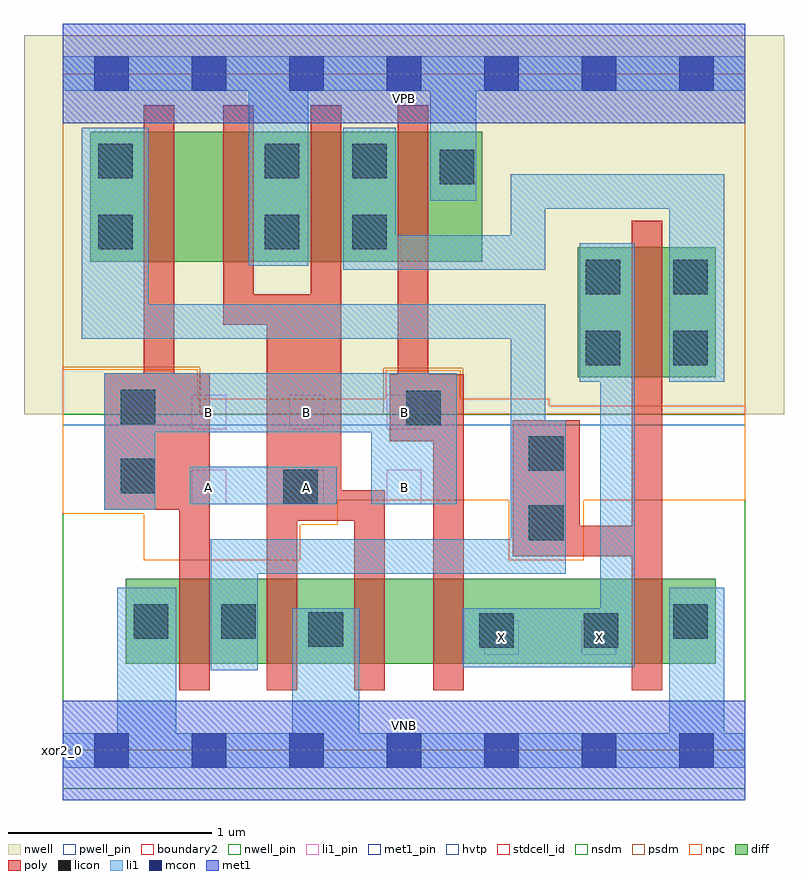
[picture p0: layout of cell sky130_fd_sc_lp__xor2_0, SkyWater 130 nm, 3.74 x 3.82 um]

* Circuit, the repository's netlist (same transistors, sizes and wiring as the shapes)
* Copyright 2020 The SkyWater PDK Authors
*
* Licensed under the Apache License, Version 2.0 (the "License");
* you may not use this file except in compliance with the License.
* You may obtain a copy of the License at
*
*     https://www.apache.org/licenses/LICENSE-2.0
*
* Unless required by applicable law or agreed to in writing, software
* distributed under the License is distributed on an "AS IS" BASIS,
* WITHOUT WARRANTIES OR CONDITIONS OF ANY KIND, either express or implied.
* See the License for the specific language governing permissions and
* limitations under the License.
*
* SPDX-License-Identifier: Apache-2.0

.SUBCKT sky130_fd_sc_lp__xor2_0 A B VGND VNB VPB VPWR X
*.PININFO A:I B:I VGND:I VNB:I VPB:I VPWR:I X:O
MMNnor0 inor A VGND VNB sky130_fd_pr__nfet_01v8 m=1 w=0.42U l=0.15U mult=1 sa=0.265
+ sb=0.265 sd=0.28 area=0.063 perim=1.14
MMNnor1 inor B VGND VNB sky130_fd_pr__nfet_01v8 m=1 w=0.42U l=0.15U mult=1 sa=0.265
+ sb=0.265 sd=0.28 area=0.063 perim=1.14
MMNaoi10 VGND A sndNA VNB sky130_fd_pr__nfet_01v8 m=1 w=0.42U l=0.15U mult=1 sa=0.265
+ sb=0.265 sd=0.28 area=0.063 perim=1.14
MMNaoi11 sndNA B X VNB sky130_fd_pr__nfet_01v8 m=1 w=0.42U l=0.15U mult=1 sa=0.265
+ sb=0.265 sd=0.28 area=0.063 perim=1.14
MMNaoi20 X inor VGND VNB sky130_fd_pr__nfet_01v8 m=1 w=0.42U l=0.15U mult=1 sa=0.265
+ sb=0.265 sd=0.28 area=0.063 perim=1.14
MMPnor0 VPWR A sndPA VPB sky130_fd_pr__pfet_01v8_hvt m=1 w=0.64U l=0.15U mult=1
+ sa=0.265 sb=0.265 sd=0.28 area=0.063 perim=1.14
MMPnor1 sndPA B inor VPB sky130_fd_pr__pfet_01v8_hvt m=1 w=0.64U l=0.15U mult=1
+ sa=0.265 sb=0.265 sd=0.28 area=0.063 perim=1.14
MMPaoi10 pmid A VPWR VPB sky130_fd_pr__pfet_01v8_hvt m=1 w=0.64U l=0.15U mult=1
+ sa=0.265 sb=0.265 sd=0.28 area=0.063 perim=1.14
MMPaoi11 pmid B VPWR VPB sky130_fd_pr__pfet_01v8_hvt m=1 w=0.64U l=0.15U mult=1
+ sa=0.265 sb=0.265 sd=0.28 area=0.063 perim=1.14
MMPaoi20 X inor pmid VPB sky130_fd_pr__pfet_01v8_hvt m=1 w=0.64U l=0.15U mult=1
+ sa=0.265 sb=0.265 sd=0.28 area=0.063 perim=1.14
.ENDS sky130_fd_sc_lp__xor2_0

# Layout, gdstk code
import gdstk
lib = gdstk.Library(unit=1e-6, precision=1e-09)
def R(c, l, rs):  # rectangles x0, y0, x1, y1
    for r in rs: c.add(gdstk.rectangle(r[:2], r[2:], *l))
def A(c, l, x, y, w, h, nx, ny, dx, dy):  # array of equal rectangles
    R(c, l, [(x+i*dx, y+j*dy, x+i*dx+w, y+j*dy+h) for i in range(nx) for j in range(ny)])
def P(c, l, *ps):  # polygons
    for p in ps: c.add(gdstk.Polygon(p, *l))
nwell_pin = (64, 16)
nwell = (64, 20)
diff = (65, 20)
poly = (66, 20)
licon = (66, 44)
li1_pin = (67, 16)
li1 = (67, 20)
mcon = (67, 44)
met1_pin = (68, 16)
met1 = (68, 20)
hvtp = (78, 44)
stdcell_id = (81, 4)
nsdm = (93, 44)
psdm = (94, 20)
npc = (95, 20)
pwell_pin = (122, 16)
boundary2 = (236, 0)

sky130_fd_sc_lp__xor2_0 = lib.new_cell('sky130_fd_sc_lp__xor2_0')
R(sky130_fd_sc_lp__xor2_0, nwell_pin, [(0,3.085,3.36,3.33)])
R(sky130_fd_sc_lp__xor2_0, nwell, [(-0.19,1.655,3.55,3.52)])
R(sky130_fd_sc_lp__xor2_0, diff, [(0.31,0.425,3.215,0.845), (2.535,1.835,3.215,2.475), (0.135,2.405,2.065,3.045)])
P(sky130_fd_sc_lp__xor2_0, poly, [(2.95,2.605),(2.8,2.605),(2.8,1.105),(2.545,1.105),(2.545,1.625),(2.215,1.625),(2.215,0.955),(2.8,0.955),(2.8,0.295),(2.95,0.295)],
  [(1.975,1.85),(1.8,1.85),(1.8,3.175),(1.65,3.175),(1.65,1.85),(1.61,1.85),(1.61,1.52),(1.825,1.52),(1.825,0.295),(1.975,0.295)],
  [(0.725,1.855),(0.55,1.855),(0.55,3.175),(0.4,3.175),(0.4,1.855),(0.205,1.855),(0.205,1.185),(0.575,1.185),(0.575,0.295),(0.725,0.295)],
  [(1.585,1.28),(1.37,1.28),(1.37,3.175),(1.22,3.175),(1.22,2.245),(0.94,2.245),(0.94,3.175),(0.79,3.175),(0.79,2.095),(1.005,2.095),(1.005,0.295),(1.155,0.295),(1.155,1.13),(1.435,1.13),(1.435,0.295),(1.585,0.295)])
R(sky130_fd_sc_lp__xor2_0, licon, [(2.05,0.505,2.22,0.675), (2.565,0.505,2.735,0.675), (1.21,0.51,1.38,0.68), (0.35,0.55,0.52,0.72), (0.78,0.55,0.95,0.72), (3.005,0.55,3.175,0.72), (2.295,1.035,2.465,1.205), (1.085,1.21,1.255,1.38), (0.285,1.265,0.455,1.435), (2.295,1.375,2.465,1.545), (1.69,1.6,1.86,1.77), (0.285,1.605,0.455,1.775), (2.575,1.895,2.745,2.065), (3.005,1.895,3.175,2.065), (2.575,2.245,2.745,2.415), (3.005,2.245,3.175,2.415), (0.175,2.465,0.345,2.635), (0.995,2.465,1.165,2.635), (1.425,2.465,1.595,2.635), (1.855,2.785,2.025,2.955), (0.175,2.815,0.345,2.985), (0.995,2.815,1.165,2.985), (1.425,2.815,1.595,2.985)])
A(sky130_fd_sc_lp__xor2_0, li1_pin, 0.635, 1.21, 0.17, 0.17, 3, 2, 0.48, 0.37)
R(sky130_fd_sc_lp__xor2_0, li1_pin, [(2.075,0.47,2.245,0.64), (2.555,0.47,2.725,0.64)])
R(sky130_fd_sc_lp__xor2_0, li1, [(0.625,1.21,1.35,1.395)])
P(sky130_fd_sc_lp__xor2_0, li1, [(2.475,1.625),(2.375,1.625),(2.375,2.195),(0.425,2.195),(0.425,3.065),(0.095,3.065),(0.095,2.025),(2.205,2.025),(2.205,1.04),(0.73,1.04),(0.73,0.395),(0.96,0.395),(0.96,0.87),(2.475,0.87)],
  [(3.36,3.415),(0,3.415),(0,3.245),(0.915,3.245),(0.915,2.385),(1.21,2.385),(1.21,3.245),(1.81,3.245),(1.81,2.705),(2.035,2.705),(2.035,3.245),(3.36,3.245)],
  [(2.815,2.495),(2.545,2.495),(2.545,1.815),(2.645,1.815),(2.645,0.7),(1.97,0.7),(1.97,0.41),(2.815,0.41)],
  [(1.94,1.855),(0.205,1.855),(0.205,1.185),(0.455,1.185),(0.455,1.565),(1.52,1.565),(1.52,1.21),(1.94,1.21)],
  [(3.255,2.835),(2.205,2.835),(2.205,2.535),(1.64,2.535),(1.64,3.065),(1.38,3.065),(1.38,2.365),(2.375,2.365),(2.375,2.665),(2.985,2.665),(2.985,1.815),(3.255,1.815)],
  [(3.36,0.085),(3.255,0.085),(3.255,0.8),(2.985,0.8),(2.985,0.085),(1.46,0.085),(1.46,0.7),(1.13,0.7),(1.13,0.085),(0.56,0.085),(0.56,0.8),(0.27,0.8),(0.27,0.085),(0,0.085),(0,-0.085),(3.36,-0.085)])
A(sky130_fd_sc_lp__xor2_0, mcon, 0.155, -0.085, 0.17, 0.17, 7, 2, 0.48, 3.33)
R(sky130_fd_sc_lp__xor2_0, met1_pin, [(0,0,3.36,0.245), (0,3.085,3.36,3.33)])
R(sky130_fd_sc_lp__xor2_0, met1, [(0,-0.245,3.36,0.245), (0,3.085,3.36,3.575)])
R(sky130_fd_sc_lp__xor2_0, hvtp, [(0,1.6,3.36,3.33)])
R(sky130_fd_sc_lp__xor2_0, stdcell_id, [(0,0,3.36,3.33)])
R(sky130_fd_sc_lp__xor2_0, nsdm, [(0,-0.19,3.36,1.655)])
P(sky130_fd_sc_lp__xor2_0, psdm, [(3.36,3.52),(0,3.52),(0,1.885),(0.675,1.885),(0.675,1.655),(1.58,1.655),(1.58,1.88),(1.97,1.88),(1.97,1.655),(3.36,1.655)])
P(sky130_fd_sc_lp__xor2_0, npc, [(3.36,1.695),(2.395,1.695),(2.395,1.73),(1.96,1.73),(1.96,1.87),(1.59,1.87),(1.59,1.73),(0.665,1.73),(0.665,1.875),(0,1.875),(0,1.165),(0.4,1.165),(0.4,0.935),(1.17,0.935),(1.17,1.11),(1.355,1.11),(1.355,1.23),(2.195,1.23),(2.195,0.935),(2.565,0.935),(2.565,1.23),(3.36,1.23)])
R(sky130_fd_sc_lp__xor2_0, pwell_pin, [(0,0,3.36,0.245)])
R(sky130_fd_sc_lp__xor2_0, boundary2, [(0,0,3.36,3.33)])
sky130_fd_sc_lp__xor2_0.add(gdstk.Label('VNB', (1.68,0.123), layer=64, texttype=59))
sky130_fd_sc_lp__xor2_0.add(gdstk.Label('VPB', (1.68,3.208), layer=64, texttype=5))
sky130_fd_sc_lp__xor2_0.add(gdstk.Label('xor2_0', (0,0), layer=83, texttype=44))
sky130_fd_sc_lp__xor2_0.add(gdstk.Label('VPWR', (1.68,3.208), layer=68, texttype=5))
sky130_fd_sc_lp__xor2_0.add(gdstk.Label('VGND', (1.68,0.123), layer=68, texttype=5))
sky130_fd_sc_lp__xor2_0.add(gdstk.Label('A', (1.2,1.295), layer=67, texttype=5))
sky130_fd_sc_lp__xor2_0.add(gdstk.Label('B', (1.68,1.295), layer=67, texttype=5))
sky130_fd_sc_lp__xor2_0.add(gdstk.Label('B', (1.68,1.665), layer=67, texttype=5))
sky130_fd_sc_lp__xor2_0.add(gdstk.Label('X', (2.16,0.555), layer=67, texttype=5))
sky130_fd_sc_lp__xor2_0.add(gdstk.Label('X', (2.64,0.555), layer=67, texttype=5))
sky130_fd_sc_lp__xor2_0.add(gdstk.Label('A', (0.72,1.295), layer=67, texttype=5))
sky130_fd_sc_lp__xor2_0.add(gdstk.Label('B', (0.72,1.665), layer=67, texttype=5))
sky130_fd_sc_lp__xor2_0.add(gdstk.Label('B', (1.2,1.665), layer=67, texttype=5))

lib.write_gds('sky130_fd_sc_lp__xor2_0.gds')
